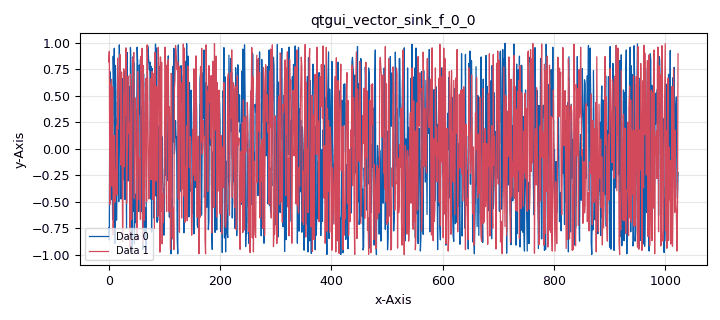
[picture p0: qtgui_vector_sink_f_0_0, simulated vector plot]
<?xml version='1.0' encoding='utf-8'?>
<?grc format='1' created='3.7.9'?>
<flow_graph>
<block>
<key>options</key>
<param><key>id</key><value>top_block</value></param>
<param><key>category</key><value>Custom</value></param>
<param><key>generate_options</key><value>qt_gui</value></param>
</block>
<block>
<key>variable_qtgui_range</key>
<param><key>id</key><value>delay</value></param>
<param><key>value</key><value>50</value></param>
<param><key>orient</key><value>Qt.Horizontal</value></param>
<param><key>start</key><value>-vlen</value></param>
<param><key>step</key><value>1</value></param>
<param><key>stop</key><value>vlen</value></param>
<param><key>rangeType</key><value>int</value></param>
</block>
<block>
<key>variable_qtgui_range</key>
<param><key>id</key><value>noise</value></param>
<param><key>value</key><value>0</value></param>
<param><key>orient</key><value>Qt.Horizontal</value></param>
<param><key>start</key><value>0</value></param>
<param><key>step</key><value>1</value></param>
<param><key>stop</key><value>10</value></param>
<param><key>rangeType</key><value>int</value></param>
</block>
<block>
<key>variable</key>
<param><key>id</key><value>samp_rate</value></param>
<param><key>value</key><value>24000</value></param>
</block>
<block>
<key>variable</key>
<param><key>id</key><value>vlen</value></param>
<param><key>value</key><value>1024</value></param>
</block>
<block>
<key>analog_fastnoise_source_x</key>
<param><key>id</key><value>analog_fastnoise_source_x_0</value></param>
<param><key>amp</key><value>noise</value></param>
<param><key>noise_type</key><value>analog.GR_GAUSSIAN</value></param>
<param><key>type</key><value>complex</value></param>
<param><key>seed</key><value>0</value></param>
<param><key>samples</key><value>8192</value></param>
</block>
<block>
<key>analog_random_source_x</key>
<param><key>id</key><value>analog_random_source_x_0</value></param>
<param><key>max</key><value>500</value></param>
<param><key>min</key><value>-500</value></param>
<param><key>num_samps</key><value>10000</value></param>
<param><key>type</key><value>int</value></param>
<param><key>repeat</key><value>True</value></param>
</block>
<block>
<key>analog_sig_source_x</key>
<param><key>id</key><value>analog_sig_source_x_0</value></param>
<param><key>amp</key><value>1</value></param>
<param><key>_enabled</key><value>0</value></param>
<param><key>freq</key><value>1000</value></param>
<param><key>offset</key><value>0</value></param>
<param><key>type</key><value>float</value></param>
<param><key>samp_rate</key><value>samp_rate</value></param>
<param><key>waveform</key><value>analog.GR_COS_WAVE</value></param>
</block>
<block>
<key>blocks_add_xx</key>
<param><key>id</key><value>blocks_add_xx_0</value></param>
<param><key>type</key><value>complex</value></param>
</block>
<block>
<key>blocks_complex_to_float</key>
<param><key>id</key><value>blocks_complex_to_float_0</value></param>
<param><key>vlen</key><value>vlen</value></param>
</block>
<block>
<key>blocks_complex_to_float</key>
<param><key>id</key><value>blocks_complex_to_float_0_0</value></param>
<param><key>vlen</key><value>vlen</value></param>
</block>
<block>
<key>blocks_complex_to_float</key>
<param><key>id</key><value>blocks_complex_to_float_0_0_0</value></param>
<param><key>vlen</key><value>vlen</value></param>
</block>
<block>
<key>blocks_delay</key>
<param><key>id</key><value>blocks_delay_0</value></param>
<param><key>delay</key><value>delay</value></param>
<param><key>type</key><value>complex</value></param>
</block>
<block>
<key>blocks_float_to_complex</key>
<param><key>id</key><value>blocks_float_to_complex_0</value></param>
</block>
<block>
<key>blocks_int_to_float</key>
<param><key>id</key><value>blocks_int_to_float_0</value></param>
<param><key>scale</key><value>500</value></param>
</block>
<block>
<key>blocks_stream_to_vector</key>
<param><key>id</key><value>blocks_stream_to_vector_0</value></param>
<param><key>type</key><value>complex</value></param>
<param><key>num_items</key><value>vlen</value></param>
</block>
<block>
<key>blocks_stream_to_vector</key>
<param><key>id</key><value>blocks_stream_to_vector_0_0</value></param>
<param><key>type</key><value>complex</value></param>
<param><key>num_items</key><value>vlen</value></param>
</block>
<block>
<key>blocks_throttle</key>
<param><key>id</key><value>blocks_throttle_0_0</value></param>
<param><key>samples_per_second</key><value>samp_rate</value></param>
<param><key>type</key><value>complex</value></param>
</block>
<block>
<key>qtgui_vector_sink_f</key>
<param><key>id</key><value>qtgui_vector_sink_f_0</value></param>
<param><key>autoscale</key><value>True</value></param>
<param><key>showports</key><value>True</value></param>
<param><key>update_time</key><value>0.1</value></param>
<param><key>vlen</key><value>vlen</value></param>
<param><key>x_axis_label</key><value>"Delay"</value></param>
<param><key>x_start</key><value>0</value></param>
<param><key>x_step</key><value>1.0</value></param>
<param><key>ymax</key><value>5</value></param>
<param><key>ymin</key><value>-5</value></param>
</block>
<block>
<key>qtgui_vector_sink_f</key>
<param><key>id</key><value>qtgui_vector_sink_f_0_0</value></param>
<param><key>autoscale</key><value>True</value></param>
<param><key>nconnections</key><value>2</value></param>
<param><key>showports</key><value>True</value></param>
<param><key>vlen</key><value>vlen</value></param>
<param><key>x_start</key><value>0</value></param>
<param><key>x_step</key><value>1.0</value></param>
</block>
<block>
<key>radar_cross_correlate_vcvc</key>
<param><key>id</key><value>radar_cross_correlate_vcvc_0</value></param>
<param><key>vlen</key><value>vlen</value></param>
</block>
<connection><source_block_id>analog_fastnoise_source_x_0</source_block_id><sink_block_id>blocks_add_xx_0</sink_block_id><source_key>0</source_key><sink_key>1</sink_key></connection>
<connection><source_block_id>analog_random_source_x_0</source_block_id><sink_block_id>blocks_int_to_float_0</sink_block_id><source_key>0</source_key><sink_key>0</sink_key></connection>
<connection><source_block_id>analog_sig_source_x_0</source_block_id><sink_block_id>blocks_float_to_complex_0</sink_block_id><source_key>0</source_key><sink_key>0</sink_key></connection>
<connection><source_block_id>blocks_add_xx_0</source_block_id><sink_block_id>blocks_stream_to_vector_0_0</sink_block_id><source_key>0</source_key><sink_key>0</sink_key></connection>
<connection><source_block_id>blocks_complex_to_float_0</source_block_id><sink_block_id>qtgui_vector_sink_f_0</sink_block_id><source_key>0</source_key><sink_key>0</sink_key></connection>
<connection><source_block_id>blocks_complex_to_float_0_0</source_block_id><sink_block_id>qtgui_vector_sink_f_0_0</sink_block_id><source_key>0</source_key><sink_key>1</sink_key></connection>
<connection><source_block_id>blocks_complex_to_float_0_0_0</source_block_id><sink_block_id>qtgui_vector_sink_f_0_0</sink_block_id><source_key>0</source_key><sink_key>0</sink_key></connection>
<connection><source_block_id>blocks_delay_0</source_block_id><sink_block_id>blocks_add_xx_0</sink_block_id><source_key>0</source_key><sink_key>0</sink_key></connection>
<connection><source_block_id>blocks_float_to_complex_0</source_block_id><sink_block_id>blocks_throttle_0_0</sink_block_id><source_key>0</source_key><sink_key>0</sink_key></connection>
<connection><source_block_id>blocks_int_to_float_0</source_block_id><sink_block_id>blocks_float_to_complex_0</sink_block_id><source_key>0</source_key><sink_key>0</sink_key></connection>
<connection><source_block_id>blocks_stream_to_vector_0</source_block_id><sink_block_id>blocks_complex_to_float_0_0_0</sink_block_id><source_key>0</source_key><sink_key>0</sink_key></connection>
<connection><source_block_id>blocks_stream_to_vector_0</source_block_id><sink_block_id>radar_cross_correlate_vcvc_0</sink_block_id><source_key>0</source_key><sink_key>0</sink_key></connection>
<connection><source_block_id>blocks_stream_to_vector_0_0</source_block_id><sink_block_id>blocks_complex_to_float_0_0</sink_block_id><source_key>0</source_key><sink_key>0</sink_key></connection>
<connection><source_block_id>blocks_stream_to_vector_0_0</source_block_id><sink_block_id>radar_cross_correlate_vcvc_0</sink_block_id><source_key>0</source_key><sink_key>1</sink_key></connection>
<connection><source_block_id>blocks_throttle_0_0</source_block_id><sink_block_id>blocks_delay_0</sink_block_id><source_key>0</source_key><sink_key>0</sink_key></connection>
<connection><source_block_id>blocks_throttle_0_0</source_block_id><sink_block_id>blocks_stream_to_vector_0</sink_block_id><source_key>0</source_key><sink_key>0</sink_key></connection>
<connection><source_block_id>radar_cross_correlate_vcvc_0</source_block_id><sink_block_id>blocks_complex_to_float_0</sink_block_id><source_key>0</source_key><sink_key>0</sink_key></connection>
</flow_graph>
